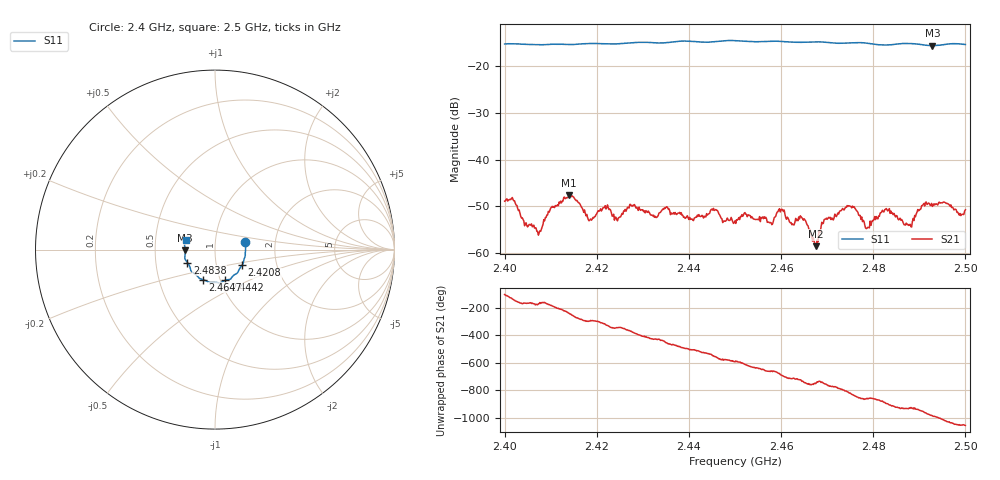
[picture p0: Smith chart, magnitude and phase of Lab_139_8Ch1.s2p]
# Hz S RI R 50
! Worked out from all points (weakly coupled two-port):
!   601 points, 2.4 GHz to 2.5 GHz, reference 50 ohm
!   highest |S21| = -47.67 dB at 2.414 GHz (marker M1); lowest = -58.6 dB at 2.4675 GHz (marker M2)
!   lowest |S11| = -15.6 dB at 2.4928 GHz (marker M3), VSWR 1.40, Z = 35.8 - j0.339 ohm
!   |S11| at or under -10 dB: start of sweep to end of sweep
!   S12 and S22 are empty: the file has one direction only
!   S11 on the Smith chart (normalised r, x): 2.4 GHz: 1.40, +0.12; 2.4208 GHz: 1.33, -0.24; 2.4442 GHz: 1.05, -0.37; 2.4647 GHz: 0.83, -0.29; 2.4838 GHz: 0.73, -0.11; 2.5 GHz: 0.72, +0.08
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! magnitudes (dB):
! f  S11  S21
! 2.4 GHz  -15.3  -48.9
! 2.4075 GHz  -15.4  -55.7
! 2.41 GHz  -15.3  -50.4
! 2.414 GHz  -15.4  -47.7
! 2.4167 GHz  -15.2  -50.2
! 2.4185 GHz  -15.2  -52.9
! 2.4208 GHz  -15.2  -50.5
! 2.4333 GHz  -15.0  -52.0
! 2.4442 GHz  -14.9  -51.7
! 2.45 GHz  -14.5  -53.1
! 2.4598 GHz  -14.7  -51.2
! 2.4647 GHz  -14.9  -52.6
! 2.4667 GHz  -14.8  -56.6
! 2.4675 GHz  -14.8  -58.6
! 2.4693 GHz  -14.9  -52.9
! 2.4743 GHz  -15.1  -49.9
! 2.4787 GHz  -15.1  -54.7
! 2.4833 GHz  -15.5  -50.8
! 2.4838 GHz  -15.4  -51.0
! 2.4878 GHz  -15.1  -54.0
! 2.4928 GHz  -15.6  -50.0
! 2.5 GHz  -15.4  -50.8
